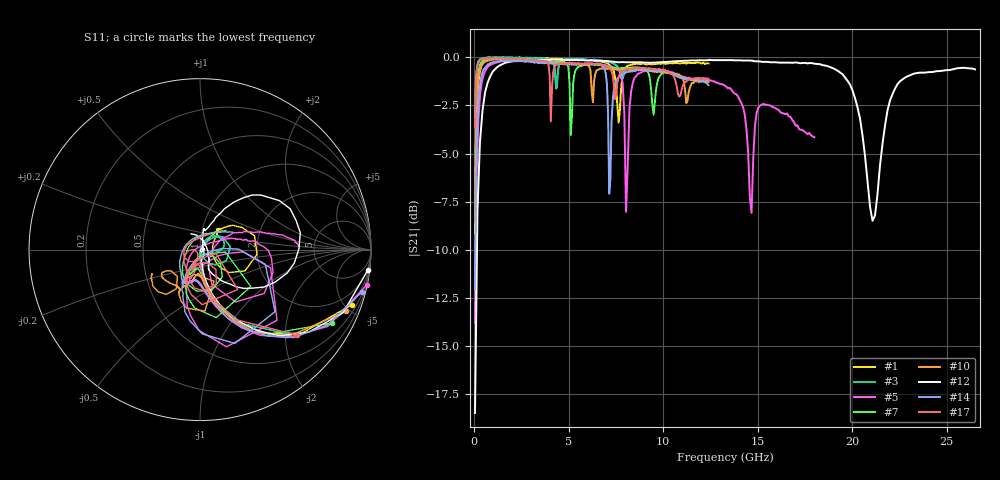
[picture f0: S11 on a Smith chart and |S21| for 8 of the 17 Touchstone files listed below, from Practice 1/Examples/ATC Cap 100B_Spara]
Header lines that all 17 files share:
!  One Norden Lane
!  Huntington Station,  NY.  11746-2102
!  Tel:  (516) 547-5700  Fax:  (516) 547-5748
# GHZ S DB R 50
! Freq  |S11|  S11 Ph  |S21|  S21 Ph  |S12|  S12 Ph  |S22|  S22 Ph
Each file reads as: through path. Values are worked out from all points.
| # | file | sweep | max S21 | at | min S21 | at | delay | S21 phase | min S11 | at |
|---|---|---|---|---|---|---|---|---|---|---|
| 1 | 100A120F.S2P | 50 MHz to 12.4 GHz | -0.01 dB | 1.78 GHz | -9.1 dB | 50 MHz | 4.47 ps | -6 deg at 6.23 GHz | -39.6 dB | 3.08 GHz |
| 2 | 100A150F.S2P | 50 MHz to 12.4 GHz | 0.01 dB | 1.96 GHz | -7.4 dB | 50 MHz | 4.17 ps | -7 deg at 6.23 GHz | -51.2 dB | 2.64 GHz |
| 3 | 100A330J.S2P | 50 MHz to 8 GHz | 0.01 dB | 810 MHz | -3.1 dB | 50 MHz | 4.9 ps | -5 deg at 4.03 GHz | -50.6 dB | 2.24 GHz |
| 4 | 100A390F.S2P | 50 MHz to 8 GHz | 0.01 dB | 1.08 GHz | -2.3 dB | 50 MHz | 4.03 ps | -6 deg at 4.03 GHz | -58.4 dB | 1.88 GHz |
| 5 | 100B6R8B.S2P | 50 MHz to 18 GHz | -0.17 dB | 2.47 GHz | -13.8 dB | 50 MHz | - | -11 deg at 9.03 GHz | -35.9 dB | 11.27 GHz |
| 6 | 100B150F.S2P | 50 MHz to 12.4 GHz | -0.09 dB | 1.35 GHz | -7.5 dB | 50 MHz | 6.4 ps | -7 deg at 6.23 GHz | -41.6 dB | 10.05 GHz |
| 7 | 100B180J.S2P | 50 MHz to 12.4 GHz | -0.07 dB | 1.35 GHz | -6.4 dB | 50 MHz | 7.13 ps | -10 deg at 6.23 GHz | -28.7 dB | 9.13 GHz |
| 8 | 180R5R6D.S2P | 50 MHz to 18 GHz | -0.24 dB | 2.56 GHz | -15.8 dB | 50 MHz | 3.89 ps | -4 deg at 9.03 GHz | -22.5 dB | 9.92 GHz |
| 9 | 180R120J.S2P | 50 MHz to 12.4 GHz | -0.08 dB | 1.9 GHz | -9.0 dB | 50 MHz | 3.26 ps | -4 deg at 6.23 GHz | -17.1 dB | 6.66 GHz |
| 10 | 180R150K.S2P | 50 MHz to 12.4 GHz | -0.08 dB | 1.41 GHz | -8.1 dB | 50 MHz | 3.05 ps | -12 deg at 6.23 GHz | -17.0 dB | 1.78 GHz |
| 11 | 180R180K.S2P | 50 MHz to 12.4 GHz | -0.07 dB | 1.41 GHz | -6.8 dB | 50 MHz | 2.19 ps | -2 deg at 6.23 GHz | -17.1 dB | 1.29 GHz |
| 12 | 500S3R9.S2P | 50 MHz to 26.5 GHz | -0.10 dB | 4.15 GHz | -18.5 dB | 50 MHz | 846 fs | -1 deg at 13.28 GHz | -47.5 dB | 11.42 GHz |
| 13 | 700A820F.S2P | 50 MHz to 8 GHz | 0.01 dB | 1.16 GHz | -0.9 dB | 2.95 GHz | 3.04 ps | -3 deg at 4.03 GHz | -72.8 dB | 1.4 GHz |
| 14 | 700B8R2J.S2P | 50 MHz to 12.4 GHz | -0.16 dB | 1.84 GHz | -12.1 dB | 50 MHz | - | -15 deg at 6.23 GHz | -27.6 dB | 6.78 GHz |
| 15 | 700B100G.S2P | 50 MHz to 12.4 GHz | -0.11 dB | 1.9 GHz | -10.4 dB | 50 MHz | 11.2 ps | -21 deg at 6.23 GHz | -37.5 dB | 9.93 GHz |
| 16 | 700B220J.S2P | 50 MHz to 12.4 GHz | -0.06 dB | 910 MHz | -4.9 dB | 50 MHz | 7.31 ps | -13 deg at 6.23 GHz | -49.9 dB | 11.84 GHz |
| 17 | 700B270J.S2P | 50 MHz to 12.4 GHz | -0.04 dB | 1.41 GHz | -3.6 dB | 50 MHz | 6.21 ps | -12 deg at 6.23 GHz | -31.8 dB | 10.73 GHz |
